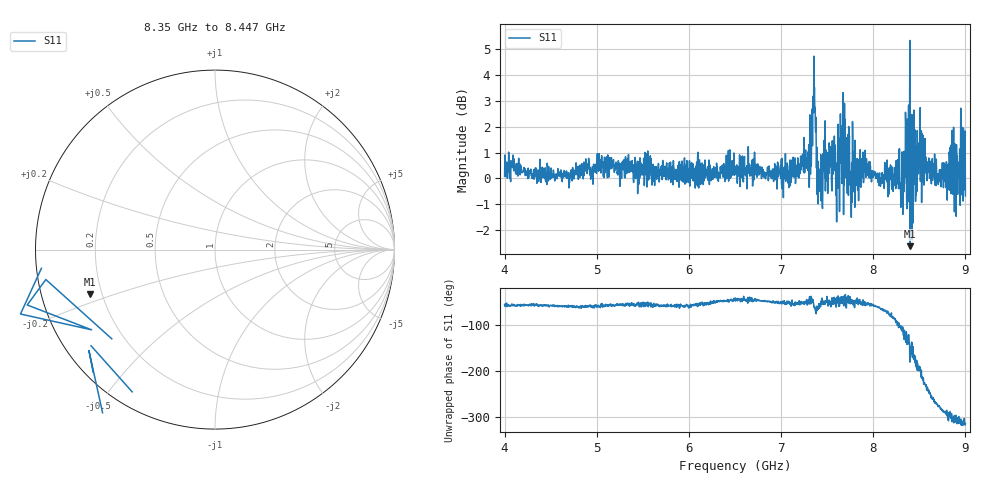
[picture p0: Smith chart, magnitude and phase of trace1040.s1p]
! Created with skrf 1.8.0 (http://scikit-rf.org).
# Hz S RI R 50.0
!freq ReS11 ImS11
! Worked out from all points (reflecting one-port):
!   1601 points, 4 GHz to 9 GHz, reference 50 ohm
!   lowest |S11| = -2.6 dB at 8.4 GHz (marker M1), VSWR 6.68, Z = 7.7 - j8.44 ohm
!   phase of S11 starts at -56 deg and turns -258 deg over the sweep
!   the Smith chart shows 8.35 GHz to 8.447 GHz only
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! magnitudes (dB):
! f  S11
! 4 GHz  0.1
! 4.625 GHz  -0.1
! 5.25 GHz  -0.3
! 5.875 GHz  0.2
! 6.5 GHz  0.3
! 7.125 GHz  0.4
! 7.303 GHz  -0.1
! 7.356 GHz  4.7
! 7.4 GHz  0.7
! 7.428 GHz  0.2
! 7.478 GHz  2.2
! 7.616 GHz  -0.4
! 7.669 GHz  1.9
! 7.75 GHz  0.2
! 7.928 GHz  0.7
! 8.097 GHz  0.2
! 8.259 GHz  0.3
! 8.312 GHz  1.0
! 8.334 GHz  1.0
! 8.375 GHz  -0.9
! 8.4 GHz  -2.6
! 8.425 GHz  -0.4
! 8.522 GHz  1.8
! 8.722 GHz  0.0
! 8.85 GHz  0.5
! 8.919 GHz  0.1
! 8.972 GHz  1.0
! 9 GHz  -0.7
